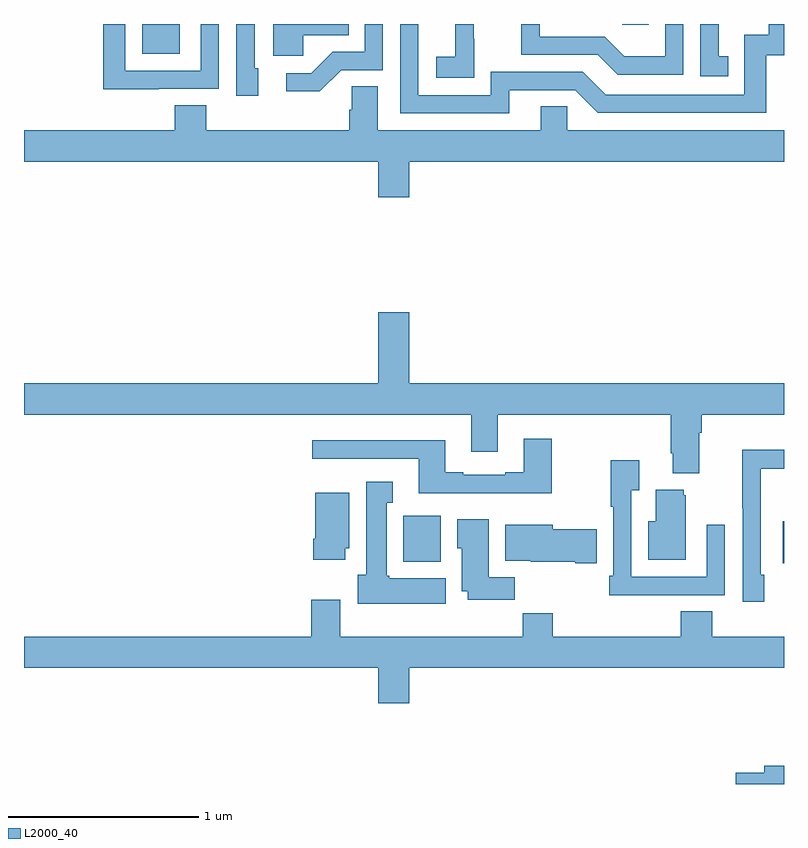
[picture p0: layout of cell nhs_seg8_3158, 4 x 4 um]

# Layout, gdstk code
import gdstk
lib = gdstk.Library(unit=1e-6, precision=1e-09)
def R(c, l, rs):  # rectangles x0, y0, x1, y1
    for r in rs: c.add(gdstk.rectangle(r[:2], r[2:], *l))
def P(c, l, *ps):  # polygons
    for p in ps: c.add(gdstk.Polygon(p, *l))
L2000_40 = (2000, 40)

nhs_seg8_3158 = lib.new_cell('nhs_seg8_3158')
R(nhs_seg8_3158, L2000_40, [(310.994,1105.063,311,1105.282), (308.996,1105.07,309.193,1105.312), (307.622,1107.743,307.819,1107.9), (310.149,1107.897,310.289,1107.9)])
P(nhs_seg8_3158, L2000_40, [(308.469,1107.842),(308.708,1107.842),(308.708,1107.9),(308.312,1107.9),(308.312,1107.734),(308.469,1107.734)],
  [(309.369,1107.823),(309.368,1107.823),(309.368,1107.9),(309.269,1107.9),(309.269,1107.727),(309.171,1107.727),(309.171,1107.617),(309.369,1107.617)],
  [(310.47,1107.9),(310.374,1107.9),(310.374,1107.73),(310.16,1107.73),(310.056,1107.834),(309.714,1107.834),(309.714,1107.9),(309.616,1107.9),(309.616,1107.738),(310.019,1107.738),(310.124,1107.633),(310.47,1107.633)],
  [(308.67,1107.657),(308.889,1107.657),(308.889,1107.9),(308.793,1107.9),(308.793,1107.753),(308.624,1107.753),(308.513,1107.642),(308.379,1107.642),(308.379,1107.545),(308.557,1107.545)],
  [(308.233,1107.666),(308.214,1107.666),(308.214,1107.9),(308.118,1107.9),(308.118,1107.522),(308.233,1107.522)],
  [(310.706,1107.729),(310.657,1107.729),(310.657,1107.9),(310.56,1107.9),(310.56,1107.624),(310.706,1107.624)],
  [(309.553,1107.552),(309.9,1107.552),(310.02,1107.432),(310.907,1107.432),(310.907,1107.735),(311,1107.735),(311,1107.9),(310.92,1107.9),(310.92,1107.843),(310.791,1107.843),(310.791,1107.528),(310.062,1107.528),(309.942,1107.648),(309.456,1107.648),(309.456,1107.525),(309.075,1107.525),(309.075,1107.9),(308.979,1107.9),(308.979,1107.429),(309.553,1107.429)],
  [(307.709,1107.558),(308.025,1107.558),(308.025,1107.9),(307.929,1107.9),(307.929,1107.654),(307.533,1107.654),(307.533,1107.9),(307.417,1107.9),(307.417,1107.557),(307.709,1107.557)],
  [(309.028,1107.176),(311,1107.176),(311,1107.34),(309.858,1107.34),(309.858,1107.467),(309.719,1107.467),(309.719,1107.34),(308.863,1107.34),(308.863,1107.572),(308.724,1107.572),(308.724,1107.449),(308.711,1107.449),(308.711,1107.34),(307.958,1107.34),(307.958,1107.473),(307.793,1107.473),(307.793,1107.34),(307,1107.34),(307,1107.176),(308.864,1107.176),(308.864,1106.988),(309.028,1106.988)],
  [(310.555,1105.748),(310.568,1105.748),(310.568,1105.844),(311,1105.844),(311,1106.008),(309.028,1106.008),(309.028,1106.383),(308.864,1106.383),(308.864,1106.008),(307,1106.008),(307,1105.844),(309.353,1105.844),(309.353,1105.65),(309.493,1105.65),(309.493,1105.844),(310.403,1105.844),(310.403,1105.642),(310.415,1105.642),(310.415,1105.535),(310.555,1105.535)],
  [(309.777,1105.717),(309.629,1105.717),(309.629,1105.54),(309.533,1105.54),(309.533,1105.527),(309.313,1105.527),(309.313,1105.54),(309.217,1105.54),(309.217,1105.708),(308.517,1105.708),(308.517,1105.611),(309.077,1105.611),(309.077,1105.43),(309.777,1105.43)],
  [(310.897,1105.002),(310.878,1105.002),(310.878,1105.56),(311,1105.56),(311,1105.658),(310.78,1105.658),(310.78,1105.351),(310.782,1105.351),(310.782,1104.858),(310.897,1104.858)],
  [(310.373,1104.894),(310.689,1104.894),(310.689,1105.264),(310.593,1105.264),(310.593,1104.99),(310.197,1104.99),(310.197,1105.447),(310.237,1105.447),(310.237,1105.603),(310.089,1105.603),(310.089,1105.358),(310.101,1105.358),(310.101,1104.997),(310.081,1104.997),(310.081,1104.893),(310.373,1104.893)],
  [(309.22,1104.982),(308.922,1104.982),(308.922,1104.996),(308.908,1104.996),(308.908,1105.379),(308.941,1105.379),(308.941,1105.492),(308.801,1105.492),(308.801,1105.002),(308.756,1105.002),(308.756,1104.848),(309.22,1104.848)],
  [(310.483,1105.419),(310.472,1105.419),(310.472,1105.45),(310.325,1105.45),(310.325,1105.282),(310.286,1105.282),(310.286,1105.079),(310.483,1105.079)],
  [(308.692,1105.14),(308.713,1105.14),(308.713,1105.432),(308.534,1105.432),(308.534,1105.192),(308.522,1105.192),(308.522,1105.08),(308.692,1105.08)],
  [(309.584,1104.988),(309.445,1104.988),(309.445,1105.294),(309.281,1105.294),(309.281,1105.14),(309.305,1105.14),(309.305,1104.914),(309.335,1104.914),(309.335,1104.87),(309.584,1104.87)],
  [(310.015,1105.241),(309.784,1105.241),(309.784,1105.264),(309.533,1105.264),(309.533,1105.076),(309.666,1105.076),(309.666,1105.07),(309.902,1105.07),(309.902,1105.063),(310.015,1105.063)],
  [(309.028,1104.512),(311,1104.512),(311,1104.676),(310.622,1104.676),(310.622,1104.809),(310.457,1104.809),(310.457,1104.676),(309.782,1104.676),(309.782,1104.8),(309.625,1104.8),(309.625,1104.676),(308.665,1104.676),(308.665,1104.871),(308.513,1104.871),(308.513,1104.676),(307,1104.676),(307,1104.512),(308.864,1104.512),(308.864,1104.324),(309.028,1104.324)],
  [(311,1103.996),(310.895,1103.996),(310.895,1103.96),(310.746,1103.96),(310.746,1103.9),(311,1103.9)])

lib.write_gds('nhs_seg8_3158.gds')
